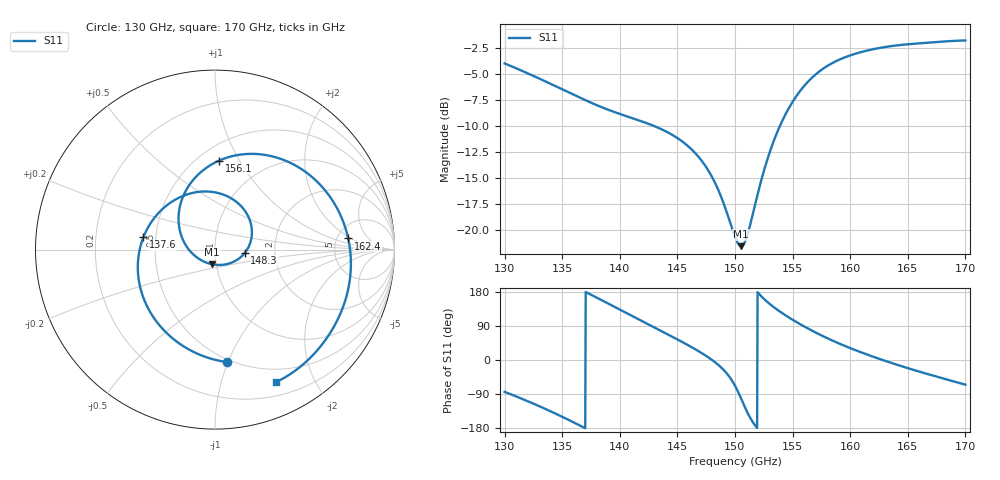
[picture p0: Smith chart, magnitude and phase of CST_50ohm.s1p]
! TOUCHSTONE file generated by CST MICROWAVE STUDIO
! Date and time: Fri Nov 20 02:59:18 2026
! Project name: ShiftNull75_Delivery.cst
! Parameters = {array_spacing=1.12; eps_r=3.5; feed_width=0.1688; ground_length=1.5; ground_width=2.5; inset_gap=0.02; inset_length=0.165; junction_y=-0.405; launch_length=0.5; loss_tangent=0.0027; mesh_box=54; mesh_near=36; metal_thickness=0.002; patch_length=0.5148; patch_width=0.667; port_halfwid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
! Header version: 2024
! Port assignment regex: !\s*Touchstone port\s*([0-9]+)\s*=\s*(CST MWS port|CST DES external port|CST DES block port)\s*(.+)\s* \(\"(.*)\"\)(\s*mode\s*([0-9]+))?.*
! Touchstone port assignment:
! Touchstone port 1 = CST MWS port 1 ("50ohm_microstrip")
# GHz S RI R 50
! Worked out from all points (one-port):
!   1001 points, 130 GHz to 170 GHz, reference 50 ohm
!   lowest |S11| = -21.6 dB at 150.5 GHz (marker M1), VSWR 1.18, Z = 47.8 - j7.86 ohm
!   |S11| at or under -10 dB: 142.9 GHz to 153.9 GHz (11 GHz wide, 7.41 % of centre)
!   S11 on the Smith chart (normalised r, x): 130 GHz: 0.48, -0.99; 137.6 GHz: 0.43, +0.07; 148.3 GHz: 1.40, -0.05; 156.1 GHz: 0.63, +0.83; 162.4 GHz: 6.33, +1.76; 170 GHz: 0.35, -1.51
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130  0.0656 -0.6266
132.28  -0.2107 -0.5145
133.68  -0.3364 -0.3865
135  -0.4093 -0.2378
136.28  -0.4299 -0.084
137.64  -0.3987 0.0693
140  -0.2462 0.2629
142.44  -0.0263 0.3226
145  0.161 0.2239
146.68  0.2057 0.1009
148.28  0.1663 -0.0181
150  0.035 -0.0853
150.52  -0.016 -0.0817
151.08  -0.0712 -0.0621
152  -0.1505 0.00618
153  -0.1993 0.1234
154  -0.1895 0.2635
155  -0.1153 0.3955
156.08  0.0234 0.4961
156.96  0.1614 0.5316
157.88  0.3091 0.5218
160  0.5882 0.3588
161.16  0.6852 0.2206
162.36  0.7422 0.062
163.64  0.7565 -0.1112
165  0.7251 -0.2856
167.68  0.5622 -0.5697
170  0.3418 -0.7377
